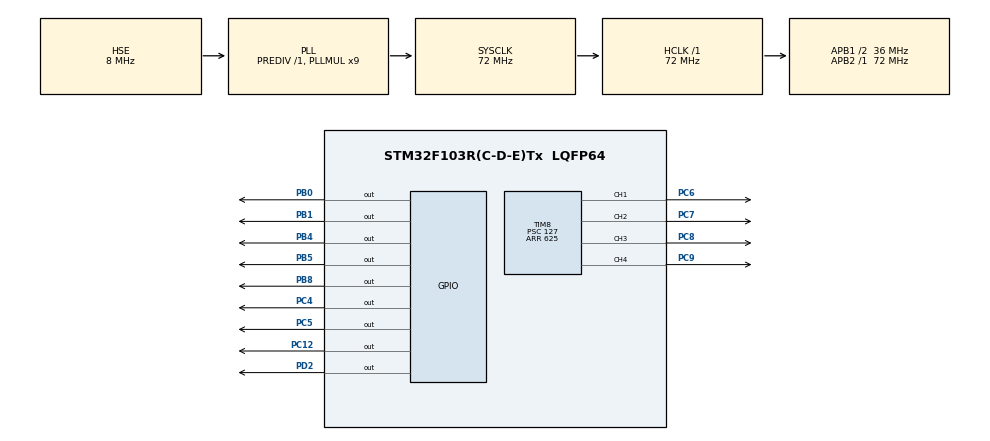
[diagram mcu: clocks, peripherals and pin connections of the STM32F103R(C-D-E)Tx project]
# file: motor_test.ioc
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Mcu.Family=STM32F1
Mcu.Name=STM32F103R(C-D-E)Tx
Mcu.Package=LQFP64
NVIC.PriorityGroup=NVIC_PRIORITYGROUP_4
PA13.Mode=Serial_Wire
PA13.Signal=SYS_JTMS-SWDIO
PA14.Mode=Serial_Wire
PA14.Signal=SYS_JTCK-SWCLK
PB0.Signal=GPIO_Output
PB1.Signal=GPIO_Output
PB4.Signal=GPIO_Output
PB5.Signal=GPIO_Output
PB8.Signal=GPIO_Output
PC12.Signal=GPIO_Output
PC4.Signal=GPIO_Output
PC5.Signal=GPIO_Output
PC6.Signal=S_TIM8_CH1
PC7.Signal=S_TIM8_CH2
PC8.Signal=S_TIM8_CH3
PC9.Signal=S_TIM8_CH4
PD0-OSC_IN.Mode=HSE-External-Oscillator
PD0-OSC_IN.Signal=RCC_OSC_IN
PD1-OSC_OUT.Mode=HSE-External-Oscillator
PD1-OSC_OUT.Signal=RCC_OSC_OUT
PD2.Signal=GPIO_Output
ProjectManager.HeapSize=0x200
ProjectManager.StackSize=0x400
ProjectManager.TargetToolchain=STM32CubeIDE
RCC.AHBFreq_Value=72000000
RCC.APB1CLKDivider=RCC_HCLK_DIV2
RCC.APB1Freq_Value=36000000
RCC.APB1TimFreq_Value=72000000
RCC.APB2Freq_Value=72000000
RCC.APB2TimFreq_Value=72000000
RCC.HCLKFreq_Value=72000000
RCC.PLLMUL=RCC_PLL_MUL9
RCC.PLLSourceVirtual=RCC_PLLSOURCE_HSE
RCC.SYSCLKFreq_VALUE=72000000
RCC.SYSCLKSource=RCC_SYSCLKSOURCE_PLLCLK
RCC.USBFreq_Value=72000000
SH.S_TIM8_CH1.0=TIM8_CH1,PWM Generation1 CH1
SH.S_TIM8_CH2.0=TIM8_CH2,PWM Generation2 CH2
SH.S_TIM8_CH3.0=TIM8_CH3,PWM Generation3 CH3
SH.S_TIM8_CH4.0=TIM8_CH4,PWM Generation4 CH4
TIM8.Channel-PWM\ Generation1\ CH1=TIM_CHANNEL_1
TIM8.Channel-PWM\ Generation2\ CH2=TIM_CHANNEL_2
TIM8.Channel-PWM\ Generation3\ CH3=TIM_CHANNEL_3
TIM8.Channel-PWM\ Generation4\ CH4=TIM_CHANNEL_4
TIM8.Period=625
TIM8.Prescaler=127
VP_TIM8_VS_ClockSourceINT.Mode=Internal
board=custom

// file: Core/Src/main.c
/* USER CODE BEGIN Header */
/**
  ******************************************************************************
  * @file           : main.c
  * @brief          : Main program body
  ******************************************************************************
  * @attention
  *
  * Copyright (c) 2023 STMicroelectronics.
  * All rights reserved.
  *
  * This software is licensed under terms that can be found in the LICENSE file
  * in the root directory of this software component.
  * If no LICENSE file comes with this software, it is provided AS-IS.
  *
  ******************************************************************************
  */
/* USER CODE END Header */
#include "main.h"

TIM_HandleTypeDef htim8;

void SystemClock_Config(void);
static void MX_GPIO_Init(void);
static void MX_TIM8_Init(void);

int main(void)
{

  /* MCU Configuration--------------------------------------------------------*/

  /* Reset of all peripherals, Initializes the Flash interface and the Systick. */
  HAL_Init();

  /* Configure the system clock */
  SystemClock_Config();

  /* Initialize all configured peripherals */
  MX_GPIO_Init();
  MX_TIM8_Init();
  /* USER CODE BEGIN 2 */
  HAL_TIM_PWM_Start(&htim8, TIM_CHANNEL_1);  // start the pwm1
  HAL_TIM_PWM_Start(&htim8, TIM_CHANNEL_2);  // start the pwm2
  HAL_TIM_PWM_Start(&htim8, TIM_CHANNEL_3);  // start the pwm3
  HAL_TIM_PWM_Start(&htim8, TIM_CHANNEL_4);  // start the pwm4
  /* USER CODE END 2 */

  /* Infinite loop */
  /* USER CODE BEGIN WHILE */

//  float_t fre[500];
//  // uint16_t period[500];
//  float_t len = 500.0;
//  float_t fre_max = 500.0;
//  float_t fre_min = 0.0;
//  float_t flexible = 4;
//
//  float_t deno;
//  float_t melo;
//  float_t delt = fre_max - fre_min;
//
//  float_t timer_freq = 1000000.0;

  while (1)
  {
		//-------------------------------------------------
		// 전진
		// MD - 방향
	//	HAL_GPIO_WritePin(GPIOB, GPIO_PIN_0, 1);
	//	HAL_GPIO_WritePin(GPIOB, GPIO_PIN_1, 0);
	//	// MC + 방향
	//	HAL_GPIO_WritePin(GPIOC, GPIO_PIN_5, 0);
	//	HAL_GPIO_WritePin(GPIOC, GPIO_PIN_4, 1);
	//	// MB - 방향
	//	HAL_GPIO_WritePin(GPIOB, GPIO_PIN_4, 1);
	//	HAL_GPIO_WritePin(GPIOB, GPIO_PIN_5, 0);
	//	// MA + 방향
	//	HAL_GPIO_WritePin(GPIOD, GPIO_PIN_2, 0);
	//	HAL_GPIO_WritePin(GPIOC, GPIO_PIN_12, 1);

		//-----------------------------------------------
		// 후진
	//	// MD + 방향
	//	HAL_GPIO_WritePin(GPIOB, GPIO_PIN_0, 0);
	//	HAL_GPIO_WritePin(GPIOB, GPIO_PIN_1, 1);
	//	// MC - 방향
	//	HAL_GPIO_WritePin(GPIOC, GPIO_PIN_5, 1);
	//	HAL_GPIO_WritePin(GPIOC, GPIO_PIN_4, 0);
	//	// MB + 방향
	//	HAL_GPIO_WritePin(GPIOB, GPIO_PIN_4, 0);
	//	HAL_GPIO_WritePin(GPIOB, GPIO_PIN_5, 1);
	//	// MA - 방향
	//	HAL_GPIO_WritePin(GPIOD, GPIO_PIN_2, 1);
	//	HAL_GPIO_WritePin(GPIOC, GPIO_PIN_12, 0);
		//-----------------------------------------------
		// 왼쪽
		// MD - 방향
	//	HAL_GPIO_WritePin(GPIOB, GPIO_PIN_0, 1);
	//	HAL_GPIO_WritePin(GPIOB, GPIO_PIN_1, 0);
	//	// MC - 방향
	//	HAL_GPIO_WritePin(GPIOC, GPIO_PIN_5, 1);
	//	HAL_GPIO_WritePin(GPIOC, GPIO_PIN_4, 0);
	//	// MB + 방향
	//	HAL_GPIO_WritePin(GPIOB, GPIO_PIN_4, 0);
	//	HAL_GPIO_WritePin(GPIOB, GPIO_PIN_5, 1);
	//	// MA + 방향
	//	HAL_GPIO_WritePin(GPIOD, GPIO_PIN_2, 0);
	//	HAL_GPIO_WritePin(GPIOC, GPIO_PIN_12, 1);
		//-----------------------------------------------
	//	// 오른쪽
	//	//MD + 방향
	//	HAL_GPIO_WritePin(GPIOB, GPIO_PIN_0, 0);
	//	HAL_GPIO_WritePin(GPIOB, GPIO_PIN_1, 1);
	//	// MC + 방향
	//	HAL_GPIO_WritePin(GPIOC, GPIO_PIN_5, 0);
	//	HAL_GPIO_WritePin(GPIOC, GPIO_PIN_4, 1);
	//	// MB - 방향
	//	HAL_GPIO_WritePin(GPIOB, GPIO_PIN_4, 1);
	//	HAL_GPIO_WritePin(GPIOB, GPIO_PIN_5, 0);
	//	// MA - 방향
	//	HAL_GPIO_WritePin(GPIOD, GPIO_PIN_2, 1);
	//	HAL_GPIO_WritePin(GPIOC, GPIO_PIN_12, 0);

		//-----------------------------------------------
	//	// 왼쪽 위 대각선
	//	//MD - 방향
	//	HAL_GPIO_WritePin(GPIOB, GPIO_PIN_0, 1);
	//	HAL_GPIO_WritePin(GPIOB, GPIO_PIN_1, 0);
	//	// MC 정지
	//	HAL_GPIO_WritePin(GPIOC, GPIO_PIN_5, 0);
	//	HAL_GPIO_WritePin(GPIOC, GPIO_PIN_4, 0);
	//	// MB 정지
	//	HAL_GPIO_WritePin(GPIOB, GPIO_PIN_4, 0);
	//	HAL_GPIO_WritePin(GPIOB, GPIO_PIN_5, 0);
	//	// MA + 방향
	//	HAL_GPIO_WritePin(GPIOD, GPIO_PIN_2, 0);
	//	HAL_GPIO_WritePin(GPIOC, GPIO_PIN_12, 1);

		//-----------------------------------------------
	//	// 오른쪽 아래 대각선
	//	//MD + 방향
	//	HAL_GPIO_WritePin(GPIOB, GPIO_PIN_0, 0);
	//	HAL_GPIO_WritePin(GPIOB, GPIO_PIN_1, 1);
	//	// MC 정지
	//	HAL_GPIO_WritePin(GPIOC, GPIO_PIN_5, 0);
	//	HAL_GPIO_WritePin(GPIOC, GPIO_PIN_4, 0);
	//	// MB 정지
	//	HAL_GPIO_WritePin(GPIOB, GPIO_PIN_4, 0);
	//	HAL_GPIO_WritePin(GPIOB, GPIO_PIN_5, 0);
	//	// MA - 방향
	//	HAL_GPIO_WritePin(GPIOD, GPIO_PIN_2, 1);
	//	HAL_GPIO_WritePin(GPIOC, GPIO_PIN_12, 0);

		//-----------------------------------------------
	//	// 오른쪽 위 대각선
	//	//MD 정지
	//	HAL_GPIO_WritePin(GPIOB, GPIO_PIN_0, 0);
	//	HAL_GPIO_WritePin(GPIOB, GPIO_PIN_1, 0);
	//	// MC + 방향
	//	HAL_GPIO_WritePin(GPIOC, GPIO_PIN_5, 0);
	//	HAL_GPIO_WritePin(GPIOC, GPIO_PIN_4, 1);
	//	// MB - 방향
	//	HAL_GPIO_WritePin(GPIOB, GPIO_PIN_4, 1);
	//	HAL_GPIO_WritePin(GPIOB, GPIO_PIN_5, 0);
	//	// MA 정지
	//	HAL_GPIO_WritePin(GPIOD, GPIO_PIN_2, 0);
	//	HAL_GPIO_WritePin(GPIOC, GPIO_PIN_12, 0);

		//-----------------------------------------------
	//	// 왼쪽 아래 대각선
	//	//MD 정지
	//	HAL_GPIO_WritePin(GPIOB, GPIO_PIN_0, 0);
	//	HAL_GPIO_WritePin(GPIOB, GPIO_PIN_1, 0);
	//	// MC - 방향
	//	HAL_GPIO_WritePin(GPIOC, GPIO_PIN_5, 1);
	//	HAL_GPIO_WritePin(GPIOC, GPIO_PIN_4, 0);
	//	// MB + 방향
	//	HAL_GPIO_WritePin(GPIOB, GPIO_PIN_4, 0);
	//	HAL_GPIO_WritePin(GPIOB, GPIO_PIN_5, 1);
	//	// MA 정지
	//	HAL_GPIO_WritePin(GPIOD, GPIO_PIN_2, 0);
	//	HAL_GPIO_WritePin(GPIOC, GPIO_PIN_12, 0);

		//-----------------------------------------------
	//	// 우회전
	//	//MD + 방향
	//	HAL_GPIO_WritePin(GPIOB, GPIO_PIN_0, 0);
	//	HAL_GPIO_WritePin(GPIOB, GPIO_PIN_1, 1);
	//	// MC + 방향
	//	HAL_GPIO_WritePin(GPIOC, GPIO_PIN_5, 0);
	//	HAL_GPIO_WritePin(GPIOC, GPIO_PIN_4, 1);
	//	// MB + 방향
	//	HAL_GPIO_WritePin(GPIOB, GPIO_PIN_4, 0);
	//	HAL_GPIO_WritePin(GPIOB, GPIO_PIN_5, 1);
	//	// MA + 방향
	//	HAL_GPIO_WritePin(GPIOD, GPIO_PIN_2, 0);
	//	HAL_GPIO_WritePin(GPIOC, GPIO_PIN_12, 1);

		//-----------------------------------------------
		// 좌회전
		//MD - 방향
		HAL_GPIO_WritePin(GPIOB, GPIO_PIN_0, 0);
		HAL_GPIO_WritePin(GPIOB, GPIO_PIN_1, 1);
		// MC  방향
		HAL_GPIO_WritePin(GPIOC, GPIO_PIN_5, 1);
		HAL_GPIO_WritePin(GPIOC, GPIO_PIN_4, 0);
		// MB - 방향
		HAL_GPIO_WritePin(GPIOB, GPIO_PIN_4, 1);
		HAL_GPIO_WritePin(GPIOB, GPIO_PIN_5, 0);
		// MA - 방향
		HAL_GPIO_WritePin(GPIOD, GPIO_PIN_2, 1);
		HAL_GPIO_WritePin(GPIOC, GPIO_PIN_12, 0);

		__HAL_TIM_SET_COMPARE(&htim8, TIM_CHANNEL_1, 200);
		__HAL_TIM_SET_COMPARE(&htim8, TIM_CHANNEL_2, 200);
		__HAL_TIM_SET_COMPARE(&htim8, TIM_CHANNEL_3, 200);
		__HAL_TIM_SET_COMPARE(&htim8, TIM_CHANNEL_4, 200);

		//	for(int i=0; i<len; i++)
		//	{
		//		melo = flexible * (i - len/2) / (len/2);
		//		deno = 1.0 / (1+expf(-melo));
		//		fre[i] = delt * deno + fre_min;
		//		// period[i] = (uint16_t)(timer_freq/fre[i]);
		//
		//		__HAL_TIM_SET_COMPARE(&htim8, TIM_CHANNEL_1, (int)fre[i]);
		//		__HAL_TIM_SET_COMPARE(&htim8, TIM_CHANNEL_2, (int)fre[i]);
		//		__HAL_TIM_SET_COMPARE(&htim8, TIM_CHANNEL_3, (int)fre[i]);
		//		__HAL_TIM_SET_COMPARE(&htim8, TIM_CHANNEL_4, (int)fre[i]);
		//		HAL_Delay(1);
		//	}
		//
		//	HAL_Delay(1000-1);
		//
		//	for(int i=len-1; i>=0; i--)
		//	{
		//		__HAL_TIM_SET_COMPARE(&htim8, TIM_CHANNEL_1, (int)fre[i]);
		//		__HAL_TIM_SET_COMPARE(&htim8, TIM_CHANNEL_2, (int)fre[i]);
		//		__HAL_TIM_SET_COMPARE(&htim8, TIM_CHANNEL_3, (int)fre[i]);
		//		__HAL_TIM_SET_COMPARE(&htim8, TIM_CHANNEL_4, (int)fre[i]);
		//		HAL_Delay(1);
		//	}

		//	  	HAL_Delay(1000-1);
    /* USER CODE END WHILE */

  }
}

void SystemClock_Config(void)
{
  RCC_OscInitTypeDef RCC_OscInitStruct = {0};
  RCC_ClkInitTypeDef RCC_ClkInitStruct = {0};

  /** Initializes the RCC Oscillators according to the specified parameters
  * in the RCC_OscInitTypeDef structure.
  */
  RCC_OscInitStruct.OscillatorType = RCC_OSCILLATORTYPE_HSE;
  RCC_OscInitStruct.HSEState = RCC_HSE_ON;
  RCC_OscInitStruct.HSEPredivValue = RCC_HSE_PREDIV_DIV1;
  RCC_OscInitStruct.HSIState = RCC_HSI_ON;
  RCC_OscInitStruct.PLL.PLLState = RCC_PLL_ON;
  RCC_OscInitStruct.PLL.PLLSource = RCC_PLLSOURCE_HSE;
  RCC_OscInitStruct.PLL.PLLMUL = RCC_PLL_MUL9;
  if (HAL_RCC_OscConfig(&RCC_OscInitStruct) != HAL_OK)
  {
    Error_Handler();
  }

  /** Initializes the CPU, AHB and APB buses clocks
  */
  RCC_ClkInitStruct.ClockType = RCC_CLOCKTYPE_HCLK|RCC_CLOCKTYPE_SYSCLK
                              |RCC_CLOCKTYPE_PCLK1|RCC_CLOCKTYPE_PCLK2;
  RCC_ClkInitStruct.SYSCLKSource = RCC_SYSCLKSOURCE_PLLCLK;
  RCC_ClkInitStruct.AHBCLKDivider = RCC_SYSCLK_DIV1;
  RCC_ClkInitStruct.APB1CLKDivider = RCC_HCLK_DIV2;
  RCC_ClkInitStruct.APB2CLKDivider = RCC_HCLK_DIV1;

  if (HAL_RCC_ClockConfig(&RCC_ClkInitStruct, FLASH_LATENCY_2) != HAL_OK)
  {
    Error_Handler();
  }
}

static void MX_TIM8_Init(void)
{

  TIM_ClockConfigTypeDef sClockSourceConfig = {0};
  TIM_MasterConfigTypeDef sMasterConfig = {0};
  TIM_OC_InitTypeDef sConfigOC = {0};
  TIM_BreakDeadTimeConfigTypeDef sBreakDeadTimeConfig = {0};

  htim8.Instance = TIM8;
  htim8.Init.Prescaler = 127;
  htim8.Init.CounterMode = TIM_COUNTERMODE_UP;
  htim8.Init.Period = 625;
  htim8.Init.ClockDivision = TIM_CLOCKDIVISION_DIV1;
  htim8.Init.RepetitionCounter = 0;
  htim8.Init.AutoReloadPreload = TIM_AUTORELOAD_PRELOAD_DISABLE;
  if (HAL_TIM_Base_Init(&htim8) != HAL_OK)
  {
    Error_Handler();
  }
  sClockSourceConfig.ClockSource = TIM_CLOCKSOURCE_INTERNAL;
  if (HAL_TIM_ConfigClockSource(&htim8, &sClockSourceConfig) != HAL_OK)
  {
    Error_Handler();
  }
  if (HAL_TIM_PWM_Init(&htim8) != HAL_OK)
  {
    Error_Handler();
  }
  sMasterConfig.MasterOutputTrigger = TIM_TRGO_RESET;
  sMasterConfig.MasterSlaveMode = TIM_MASTERSLAVEMODE_DISABLE;
  if (HAL_TIMEx_MasterConfigSynchronization(&htim8, &sMasterConfig) != HAL_OK)
  {
    Error_Handler();
  }
  sConfigOC.OCMode = TIM_OCMODE_PWM1;
  sConfigOC.Pulse = 0;
  sConfigOC.OCPolarity = TIM_OCPOLARITY_HIGH;
  sConfigOC.OCNPolarity = TIM_OCNPOLARITY_HIGH;
  sConfigOC.OCFastMode = TIM_OCFAST_DISABLE;
  sConfigOC.OCIdleState = TIM_OCIDLESTATE_RESET;
  sConfigOC.OCNIdleState = TIM_OCNIDLESTATE_RESET;
  if (HAL_TIM_PWM_ConfigChannel(&htim8, &sConfigOC, TIM_CHANNEL_1) != HAL_OK)
  {
    Error_Handler();
  }
  if (HAL_TIM_PWM_ConfigChannel(&htim8, &sConfigOC, TIM_CHANNEL_2) != HAL_OK)
  {
    Error_Handler();
  }
  if (HAL_TIM_PWM_ConfigChannel(&htim8, &sConfigOC, TIM_CHANNEL_3) != HAL_OK)
  {
    Error_Handler();
  }
  if (HAL_TIM_PWM_ConfigChannel(&htim8, &sConfigOC, TIM_CHANNEL_4) != HAL_OK)
  {
    Error_Handler();
  }
  sBreakDeadTimeConfig.OffStateRunMode = TIM_OSSR_DISABLE;
  sBreakDeadTimeConfig.OffStateIDLEMode = TIM_OSSI_DISABLE;
  sBreakDeadTimeConfig.LockLevel = TIM_LOCKLEVEL_OFF;
  sBreakDeadTimeConfig.DeadTime = 0;
  sBreakDeadTimeConfig.BreakState = TIM_BREAK_DISABLE;
  sBreakDeadTimeConfig.BreakPolarity = TIM_BREAKPOLARITY_HIGH;
  sBreakDeadTimeConfig.AutomaticOutput = TIM_AUTOMATICOUTPUT_DISABLE;
  if (HAL_TIMEx_ConfigBreakDeadTime(&htim8, &sBreakDeadTimeConfig) != HAL_OK)
  {
    Error_Handler();
  }
  HAL_TIM_MspPostInit(&htim8);

}

static void MX_GPIO_Init(void)
{
  GPIO_InitTypeDef GPIO_InitStruct = {0};

  /* GPIO Ports Clock Enable */
  __HAL_RCC_GPIOD_CLK_ENABLE();
  __HAL_RCC_GPIOC_CLK_ENABLE();
  __HAL_RCC_GPIOB_CLK_ENABLE();
  __HAL_RCC_GPIOA_CLK_ENABLE();

  /*Configure GPIO pin Output Level */
  HAL_GPIO_WritePin(GPIOC, GPIO_PIN_4|GPIO_PIN_5|GPIO_PIN_12, GPIO_PIN_RESET);

  /*Configure GPIO pin Output Level */
  HAL_GPIO_WritePin(GPIOB, GPIO_PIN_0|GPIO_PIN_1|GPIO_PIN_4|GPIO_PIN_5
                          |GPIO_PIN_8, GPIO_PIN_RESET);

  /*Configure GPIO pin Output Level */
  HAL_GPIO_WritePin(GPIOD, GPIO_PIN_2, GPIO_PIN_RESET);

  /*Configure GPIO pins : PC4 PC5 PC12 */
  GPIO_InitStruct.Pin = GPIO_PIN_4|GPIO_PIN_5|GPIO_PIN_12;
  GPIO_InitStruct.Mode = GPIO_MODE_OUTPUT_PP;
  GPIO_InitStruct.Pull = GPIO_NOPULL;
  GPIO_InitStruct.Speed = GPIO_SPEED_FREQ_LOW;
  HAL_GPIO_Init(GPIOC, &GPIO_InitStruct);

  /*Configure GPIO pins : PB0 PB1 PB4 PB5
                           PB8 */
  GPIO_InitStruct.Pin = GPIO_PIN_0|GPIO_PIN_1|GPIO_PIN_4|GPIO_PIN_5
                          |GPIO_PIN_8;
  GPIO_InitStruct.Mode = GPIO_MODE_OUTPUT_PP;
  GPIO_InitStruct.Pull = GPIO_NOPULL;
  GPIO_InitStruct.Speed = GPIO_SPEED_FREQ_LOW;
  HAL_GPIO_Init(GPIOB, &GPIO_InitStruct);

  /*Configure GPIO pin : PD2 */
  GPIO_InitStruct.Pin = GPIO_PIN_2;
  GPIO_InitStruct.Mode = GPIO_MODE_OUTPUT_PP;
  GPIO_InitStruct.Pull = GPIO_NOPULL;
  GPIO_InitStruct.Speed = GPIO_SPEED_FREQ_LOW;
  HAL_GPIO_Init(GPIOD, &GPIO_InitStruct);

}

void Error_Handler(void)
{
  __disable_irq();
  while (1)
  {
  }
}
